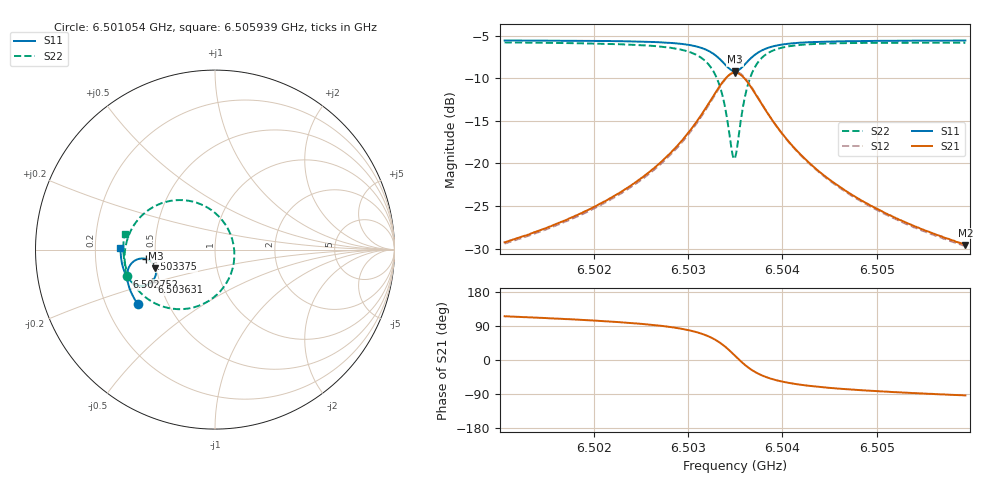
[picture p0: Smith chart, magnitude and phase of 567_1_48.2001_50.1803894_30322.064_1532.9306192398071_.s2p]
#  HZ  S  RI  R  50.00
! Rohde & Schwarz Vector Network Analyzer
! Rohde-Schwarz,ZNB20-2Port,1311601062101988,3.16
! Created: UTC 3/20/2024, 12:01:31 PM
! freq[Hz]  re:S11  im:S11  re:S21  im:S21  re:S12  im:S12  re:S22  im:S22
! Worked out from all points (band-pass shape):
!   401 points, 6.501054 GHz to 6.505939 GHz, reference 50 ohm
!   highest |S21| = -9.34 dB at 6.503497 GHz (marker M1); lowest = -29.6 dB at 6.505939 GHz (marker M2)
!   |S21| within 3 dB of the highest: 6.503253 GHz to 6.503741 GHz (488.4 kHz wide, 0.00751 % of centre)
!   lowest |S11| = -9.2 dB at 6.503497 GHz (marker M3), VSWR 2.07, Z = 24.6 - j5.78 ohm
!   |S11| at or under -10 dB: nowhere
!   |S22| runs from -19.5 to -5.8 dB; largest |S21 - S12| = 0.012
!   S11 on the Smith chart (normalised r, x): 6.501054 GHz: 0.34, -0.28; 6.502752 GHz: 0.33, -0.14; 6.503375 GHz: 0.44, -0.05; 6.503631 GHz: 0.45, -0.19; 6.505939 GHz: 0.31, +0.01
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6.5010542e9  -0.4309 -0.3034  -0.0148 0.0311  -0.0131 0.0313  -0.492 -0.1462
6.5018724e9  -0.4655 -0.2421  -0.0141 0.0492  -0.0116 0.0489  -0.5037 -0.0578
6.5022998e9  -0.4802 -0.2038  -0.0112 0.0679  -0.0082 0.0668  -0.5003 0.00403
6.5026906e9  -0.4892 -0.1599  -0.00126 0.0995  0.00217 0.097  -0.4789 0.0838
6.5027517e9  -0.4896 -0.1516  0.00199 0.1068  0.00541 0.1042  -0.4718 0.0998
6.5029715e9  -0.486 -0.1166  0.0241 0.1423  0.0275 0.1381  -0.4256 0.1709
6.5031303e9  -0.4712 -0.0841  0.0637 0.1785  0.0663 0.1729  -0.3486 0.2346
6.5032768e9  -0.4331 -0.0545  0.1458 0.2074  0.1463 0.2016  -0.1991 0.2759
6.5033257e9  -0.4117 -0.0495  0.1886 0.206  0.1885 0.2008  -0.1241 0.2675
6.5033745e9  -0.3862 -0.0515  0.2378 0.1908  0.2378 0.1866  -0.0398 0.233
6.50346e9  -0.343 -0.0809  0.3167 0.116  0.3192 0.1122  0.0863 0.0856
6.5034966e9  -0.3319 -0.1032  0.3345 0.0669  0.3384 0.0621  0.1073 -0.00669
6.5035211e9  -0.3287 -0.1196  0.3381 0.032  0.3424 0.0257  0.1051 -0.0705
6.5035577e9  -0.3309 -0.1439  0.3307 -0.0186  0.3347 -0.027  0.0779 -0.1603
6.503631e9  -0.3534 -0.1814  0.2838 -0.0958  0.2841 -0.107  -0.0329 -0.2845
6.5037409e9  -0.3994 -0.2018  0.1959 -0.1415  0.1911 -0.1512  -0.2106 -0.3317
6.5038996e9  -0.447 -0.1924  0.1114 -0.1373  0.1046 -0.1427  -0.3628 -0.2828
6.5040706e9  -0.4751 -0.1709  0.0656 -0.1162  0.0593 -0.1186  -0.437 -0.2159
6.5043149e9  -0.4962 -0.1411  0.0347 -0.091  0.03 -0.0914  -0.4813 -0.1421
6.5047057e9  -0.5126 -0.0998  0.0146 -0.0655  0.0112 -0.0653  -0.505 -0.0622
6.5051331e9  -0.5213 -0.0597  0.00529 -0.0495  0.00298 -0.0489  -0.5106 -0.00071
6.5059391e9  -0.5265 0.00898  -0.00201 -0.0332  -0.00332 -0.0326  -0.5034 0.0864
